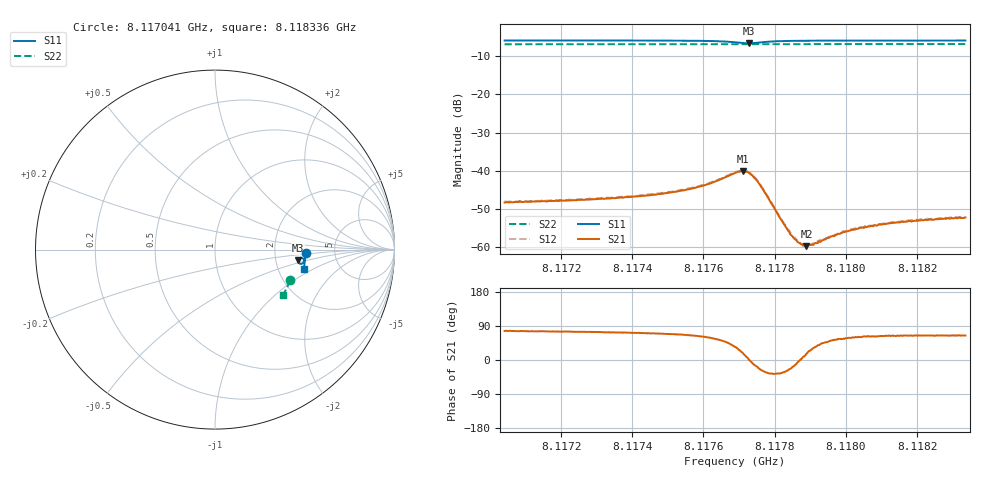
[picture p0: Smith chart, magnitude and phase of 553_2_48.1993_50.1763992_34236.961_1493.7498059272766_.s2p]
#  HZ  S  RI  R  50.00
! Rohde & Schwarz Vector Network Analyzer
! Rohde-Schwarz,ZNB20-2Port,1311601062101988,3.16
! Created: UTC 3/20/2024, 12:00:52 PM
! freq[Hz]  re:S11  im:S11  re:S21  im:S21  re:S12  im:S12  re:S22  im:S22
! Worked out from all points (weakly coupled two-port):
!   401 points, 8.117041 GHz to 8.118336 GHz, reference 50 ohm
!   highest |S21| = -40.06 dB at 8.117711 GHz (marker M1); lowest = -59.7 dB at 8.117889 GHz (marker M2)
!   lowest |S11| = -6.6 dB at 8.117727 GHz (marker M3), VSWR 2.74, Z = 133 - j20.3 ohm
!   |S11| at or under -10 dB: nowhere
!   |S22| runs from -6.9 to -6.8 dB; largest |S21 - S12| = 0.00028
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8.1170414e9  0.5062 -0.0186  0.000886 0.00373  0.000923 0.00384  0.4177 -0.1712
8.1172582e9  0.5049 -0.0361  0.00112 0.00403  0.00119 0.00407  0.4124 -0.1853
8.1173521e9  0.5039 -0.0441  0.00131 0.00417  0.00137 0.00423  0.4097 -0.1914
8.1174751e9  0.5016 -0.0555  0.0017 0.00465  0.00178 0.00468  0.4065 -0.1994
8.1175463e9  0.4993 -0.0633  0.00224 0.00508  0.00225 0.00514  0.4043 -0.204
8.1176045e9  0.4949 -0.0709  0.00314 0.00566  0.00327 0.00572  0.4023 -0.2078
8.1176887e9  0.4734 -0.0786  0.00769 0.00531  0.00785 0.00537  0.3988 -0.2131
8.1177113e9  0.4635 -0.0704  0.00946 0.00305  0.0096 0.00293  0.3978 -0.2139
8.1177275e9  0.4616 -0.0597  0.0094 0.00014  0.00956 0.000287  0.3974 -0.2143
8.1177404e9  0.4653 -0.0515  0.00815 -0.00161  0.00843 -0.0016  0.3971 -0.2148
8.1177566e9  0.4737 -0.0461  0.00623 -0.00263  0.00636 -0.0027  0.3973 -0.2155
8.1178213e9  0.4944 -0.0541  0.00182 -0.00121  0.00185 -0.00123  0.3962 -0.22
8.1178505e9  0.497 -0.0595  0.0013 -0.000428  0.00132 -0.000464  0.3953 -0.2221
8.1178602e9  0.4975 -0.0611  0.00123 -0.000245  0.00123 -0.00025  0.395 -0.2227
8.1178731e9  0.498 -0.0631  0.00111 3.09e-05  0.0011 -4.1e-05  0.3946 -0.2235
8.1178893e9  0.4985 -0.0654  0.000988 0.000292  0.000999 0.000305  0.3941 -0.2247
8.1179055e9  0.4989 -0.0677  0.000933 0.000532  0.00096 0.00052  0.3937 -0.2257
8.117954e9  0.499 -0.0735  0.000858 0.00102  0.000878 0.00106  0.3921 -0.2288
8.1180155e9  0.4986 -0.0796  0.000877 0.00143  0.000896 0.00147  0.39 -0.2327
8.1181223e9  0.4974 -0.0895  0.000882 0.00186  0.000932 0.00185  0.3863 -0.2392
8.1181903e9  0.4964 -0.0953  0.00095 0.00198  0.000997 0.00204  0.3841 -0.2436
8.1183359e9  0.4942 -0.1067  0.00105 0.0022  0.00105 0.00223  0.3788 -0.2524
